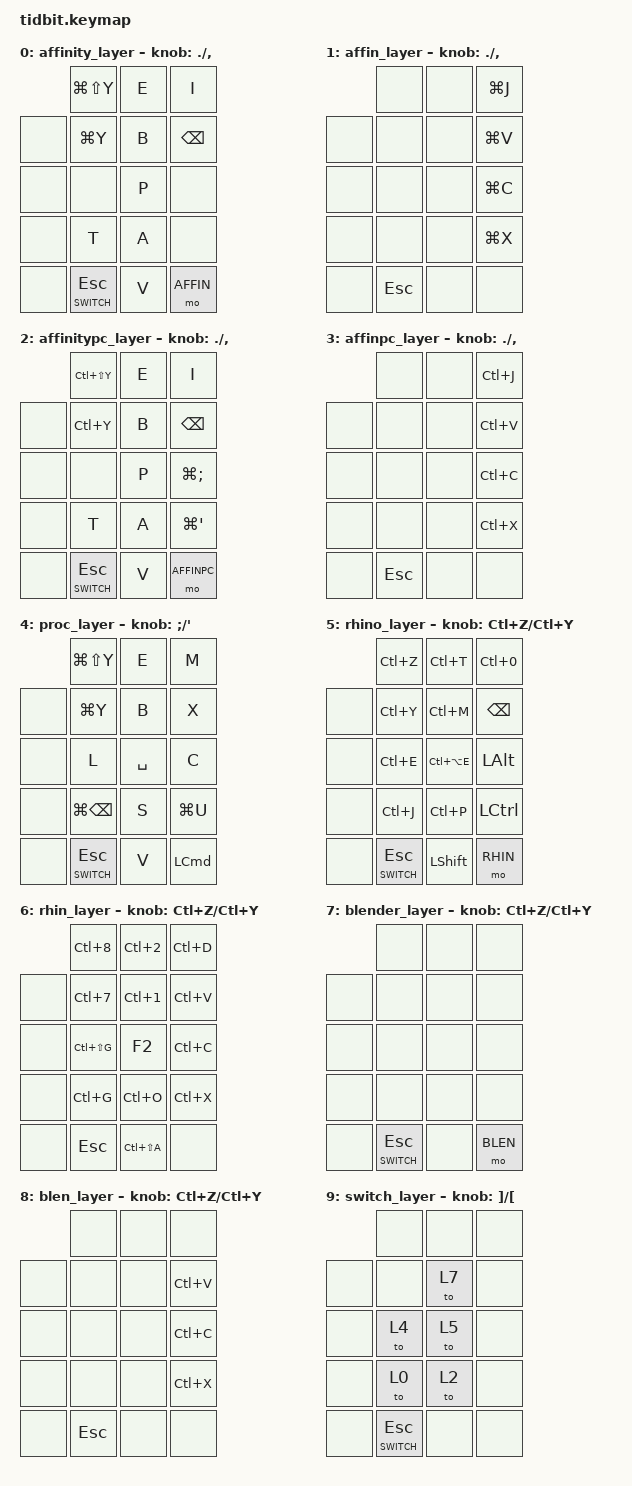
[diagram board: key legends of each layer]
/*
 * Copyright (c) 2020 The ZMK Contributors
 *
 * SPDX-License-Identifier: MIT
 */

#include <behaviors.dtsi>
#include <dt-bindings/zmk/bt.h>
#include <dt-bindings/zmk/outputs.h>
#include <dt-bindings/zmk/keys.h>

&encoder_1_top_row {
	status = "okay";
};

#define AFFINITY 0
#define AFFIN 1
#define AFFINITYPC 2
#define AFFINPC 3
#define PROC 4
#define RHINO 5
#define RHIN 6
#define BLENDER 7
#define BLEN 8
#define SWITCH 9

#define NONE 0

/ {	    
	sensors {
		compatible = "zmk,keymap-sensors";
		sensors = <&encoder_1_top_row>;
	};

	keymap {
		compatible = "zmk,keymap";

		affinity_layer {
			bindings = <
						&kp LG(LS(Y))	&kp E 		&kp I
				&none	 	&kp LG(Y) 	&kp B 		&kp BSPC
				&none 		&none 		&kp P		&none
				&none 		&kp T		&kp A		&none
				&none          	&lt SWITCH ESC	&kp V    	&mo AFFIN
			>;

			sensor-bindings = <&inc_dec_kp PERIOD COMMA>;
		};
		affin_layer {
			bindings = <
						&none	  	&none	 	&kp LG(J)
				&none	 	&none	 	&none		&kp LG(V)
				&none 		&none 		&none		&kp LG(C)
				&none 		&none		&none 		&kp LG(X)
				&none          	&kp ESC		&none     	&none	
			>;

			sensor-bindings = <&inc_dec_kp PERIOD COMMA>;
		};
		affinitypc_layer {
			bindings = <
						&kp LC(LS(Y))  	&kp E 		&kp I
				&none	 	&kp LC(Y) 	&kp B 		&kp BSPC
				&none 		&none 		&kp P		&kp LG(SEMICOLON)
				&none 		&kp T		&kp A		&kp LG(APOSTROPHE)
				&none          	&lt SWITCH ESC	&kp V    	&mo AFFINPC
			>;

			sensor-bindings = <&inc_dec_kp PERIOD COMMA>;
		};
		affinpc_layer {
			bindings = <
						&none	  	&none	 	&kp LC(J)
				&none	 	&none	 	&none		&kp LC(V)
				&none 		&none 		&none		&kp LC(C)
				&none 		&none		&none 		&kp LC(X)
				&none          	&kp ESC		&none     	&none	
			>;

			sensor-bindings = <&inc_dec_kp PERIOD COMMA>;
		};
		proc_layer {
			bindings = <
						&kp LG(LS(Y))	&kp E 		&kp M
				&none	 	&kp LG(Y)  	&kp B 		&kp X
				&none 		&kp L 		&kp SPACE	&kp C
				&none 		&kp LG(BSPC) 	&kp S		&kp LG(U)
				&none          	&lt SWITCH ESC	&kp V     	&kp LCMD
			>;

			sensor-bindings = <&inc_dec_kp SEMICOLON APOSTROPHE>;
		};
		rhino_layer {
			bindings = <
						&kp LC(Z)	&kp LC(T)	&kp LC(N0)	
				&none	 	&kp LC(Y)  	&kp LC(M)	&kp BSPC	
				&none 		&kp LC(E)	&kp LC(LA(E))	&kp LALT	
				&none 		&kp LC(J)	&kp LC(P)	&kp LCTRL
				&none          	&lt SWITCH ESC	&kp LSHFT     	&mo RHIN
			>;

			sensor-bindings = <&inc_dec_kp LC(Z) LC(Y)>;
		};
		rhin_layer {
			bindings = <
						&kp LC(8)	&kp LC(N2)	&kp LC(D)
				&none	 	&kp LC(7) 	&kp LC(N1)	&kp LC(V)
				&none 		&kp LC(LS(G)) 	&kp F2		&kp LC(C)
				&none 		&kp LC(G) 	&kp LC(O)	&kp LC(X)
				&none          	&kp ESC		&kp LC(LS(A))   &none	
			>;

			sensor-bindings = <&inc_dec_kp LC(Z) LC(Y)>;
		};
		blender_layer {
			bindings = <
						&none		&none		&none		
				&none	 	&none		&none		&none		
				&none 		&none		&none		&none		
				&none 		&none		&none		&none		
				&none          	&lt SWITCH ESC	&none		&mo BLEN	
			>;

			sensor-bindings = <&inc_dec_kp LC(Z) LC(Y)>;
		};
		blen_layer {
			bindings = <
						&none		&none		&none		
				&none	 	&none		&none		&kp LC(V)	
				&none 		&none		&none		&kp LC(C)		
				&none 		&none		&none		&kp LC(X)		
				&none          	&kp ESC		&none		&none	
			>;

			sensor-bindings = <&inc_dec_kp LC(Z) LC(Y)>;
		};
		switch_layer {
			bindings = <
						&none		&none	 	&none	 	
				&none	 	&none	 	&to 7	 	&none	 	
				&none 		&to 4	 	&to 5	 	&none	 	
				&none 		&to 0	 	&to 2 		&none	 	
				&none          	&lt SWITCH ESC	&none	 	&none	
			>;

			sensor-bindings = <&inc_dec_kp RBKT LBKT>;
		};
	};
};
